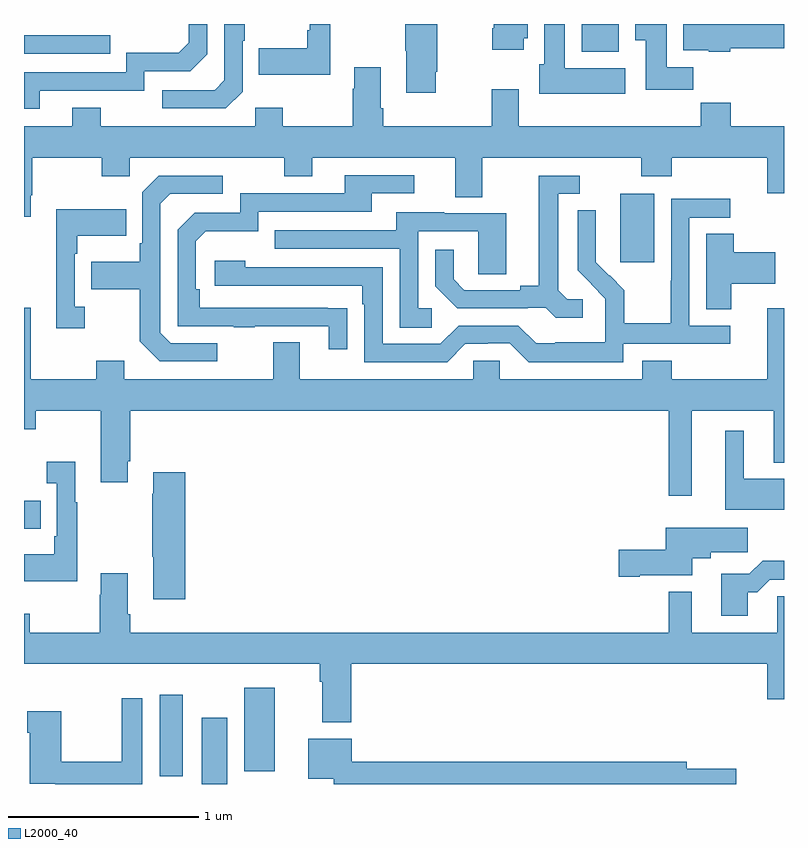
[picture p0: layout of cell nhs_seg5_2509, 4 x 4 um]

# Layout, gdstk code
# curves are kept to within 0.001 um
import gdstk
lib = gdstk.Library(unit=1e-6, precision=1e-09)
def R(c, l, rs):  # rectangles x0, y0, x1, y1
    for r in rs: c.add(gdstk.rectangle(r[:2], r[2:], *l))
def P(c, l, *ps):  # polygons
    for p in ps: c.add(gdstk.Polygon(p, *l))
L2000_40 = (2000, 40)

nhs_seg5_2509 = lib.new_cell('nhs_seg5_2509')
R(nhs_seg5_2509, L2000_40, [(257.936,850.799,258.07,851.149), (257.714,850.839,257.836,851.269), (258.158,850.866,258.319,851.305), (257,852.143,257.087,852.291), (260.138,853.545,260.317,853.906), (257,854.643,257.453,854.739), (259.935,854.654,260.131,854.799)])
P(nhs_seg5_2509, L2000_40, [(260.718,854.671),(261,854.671),(261,854.799),(260.471,854.799),(260.471,854.66),(260.604,854.66),(260.604,854.654),(260.718,854.654)],
  [(260.164,854.566),(259.846,854.566),(259.846,854.799),(259.739,854.799),(259.739,854.586),(259.712,854.586),(259.712,854.432),(260.164,854.432)],
  [(258.613,854.799),(258.504,854.799),(258.504,854.767),(258.492,854.767),(258.492,854.671),(258.235,854.671),(258.235,854.531),(258.613,854.531)],
  [(258.15,854.442),(258.15,854.711),(258.163,854.711),(258.163,854.799),(258.054,854.799),(258.054,854.502),(258.003,854.451),(257.727,854.451),(257.727,854.355),(258.063,854.355)],
  [(260.522,854.572),(260.383,854.572),(260.383,854.799),(260.216,854.799),(260.216,854.713),(260.273,854.713),(260.273,854.454),(260.522,854.454)],
  [(259.63,854.724),(259.651,854.724),(259.651,854.799),(259.472,854.799),(259.472,854.776),(259.465,854.776),(259.465,854.664),(259.63,854.664)],
  [(259.168,854.548),(259.176,854.548),(259.176,854.799),(259.006,854.799),(259.006,854.659),(259.013,854.659),(259.013,854.436),(259.168,854.436)],
  [(257.083,854.448),(257.634,854.448),(257.634,854.55),(257.874,854.55),(257.964,854.64),(257.964,854.799),(257.868,854.799),(257.868,854.7),(257.815,854.647),(257.538,854.647),(257.538,854.544),(257,854.544),(257,854.352),(257.083,854.352)],
  [(257.035,853.897),(257.043,853.897),(257.043,854.096),(257.41,854.096),(257.41,853.997),(257.556,853.997),(257.556,854.096),(258.37,854.096),(258.37,853.997),(258.517,853.997),(258.517,854.096),(259.271,854.096),(259.271,853.888),(259.411,853.888),(259.411,854.096),(260.248,854.096),(260.248,853.997),(260.408,853.997),(260.408,854.096),(260.912,854.096),(260.912,853.908),(261,853.908),(261,854.26),(260.72,854.26),(260.72,854.384),(260.563,854.384),(260.563,854.26),(259.603,854.26),(259.603,854.455),(259.463,854.455),(259.463,854.26),(258.89,854.26),(258.89,854.356),(258.877,854.356),(258.877,854.572),(258.737,854.572),(258.737,854.459),(258.73,854.459),(258.73,854.26),(258.363,854.26),(258.363,854.359),(258.216,854.359),(258.216,854.26),(257.403,854.26),(257.403,854.359),(257.255,854.359),(257.255,854.26),(257,854.26),(257,853.785),(257.035,853.785)],
  [(258.701,853.304),(257.924,853.305),(257.924,853.402),(257.904,853.402),(257.904,853.656),(257.957,853.709),(258.234,853.709),(258.234,853.812),(258.829,853.812),(258.829,853.908),(259.054,853.908),(259.054,854.004),(258.689,854.004),(258.689,853.908),(258.138,853.908),(258.138,853.806),(257.898,853.806),(257.808,853.716),(257.808,853.209),(258.103,853.209),(258.103,853.204),(258.215,853.204),(258.215,853.209),(258.605,853.209),(258.605,853.086),(258.701,853.086)],
  [(259.942,853.35),(259.86,853.35),(259.813,853.397),(259.813,853.905),(259.924,853.905),(259.924,854.001),(259.709,854.001),(259.709,853.421),(259.613,853.421),(259.613,853.398),(259.318,853.398),(259.261,853.455),(259.261,853.612),(259.164,853.612),(259.164,853.418),(259.28,853.302),(259.652,853.302),(259.652,853.305),(259.746,853.305),(259.798,853.253),(259.942,853.253)],
  [(258.016,853.119),(257.772,853.119),(257.718,853.173),(257.718,853.854),(257.769,853.905),(258.046,853.905),(258.046,854.001),(257.709,854.001),(257.622,853.914),(257.622,853.645),(257.61,853.645),(257.61,853.549),(257.353,853.549),(257.353,853.402),(257.61,853.402),(257.61,853.129),(257.715,853.023),(258.016,853.023)],
  [(260.154,853.116),(260.716,853.116),(260.716,853.212),(260.502,853.212),(260.502,853.779),(260.716,853.779),(260.716,853.878),(260.406,853.878),(260.406,853.448),(260.404,853.448),(260.404,853.225),(260.159,853.225),(260.159,853.399),(260.082,853.476),(260.079,853.473),(260.009,853.544),(260.01,853.82),(259.914,853.82),(259.914,853.502),(260.06,853.354),(260.06,853.257),(260.058,853.257),(260.058,853.123),(259.795,853.123),(259.795,853.119),(259.695,853.119),(259.602,853.212),(259.287,853.212),(259.191,853.116),(258.888,853.116),(258.888,853.518),(258.164,853.518),(258.164,853.552),(258.003,853.552),(258.003,853.422),(258.779,853.422),(258.779,853.325),(258.792,853.325),(258.792,853.02),(259.227,853.02),(259.323,853.116),(259.442,853.116),(259.442,853.119),(259.557,853.119),(259.657,853.019),(260.154,853.019)],
  [(257.32,853.31),(257.268,853.31),(257.268,853.589),(257.281,853.589),(257.281,853.685),(257.537,853.685),(257.537,853.825),(257.171,853.825),(257.171,853.197),(257.32,853.197)],
  [(259.147,853.302),(259.074,853.302),(259.074,853.707),(259.392,853.707),(259.392,853.483),(259.537,853.483),(259.537,853.803),(259.213,853.803),(259.213,853.807),(258.959,853.807),(258.959,853.713),(258.319,853.713),(258.319,853.617),(258.978,853.617),(258.978,853.201),(259.147,853.201)],
  [(260.722,853.433),(260.953,853.433),(260.953,853.599),(260.735,853.599),(260.735,853.694),(260.591,853.694),(260.591,853.297),(260.722,853.297)],
  [(260.515,852.764),(260.945,852.764),(260.945,852.491),(261,852.491),(261,853.303),(260.912,853.303),(260.912,852.928),(260.408,852.928),(260.408,853.027),(260.255,853.027),(260.255,852.928),(259.503,852.928),(259.503,853.026),(259.365,853.026),(259.365,852.928),(258.451,852.928),(258.451,853.123),(258.311,853.123),(258.311,852.928),(257.527,852.928),(257.527,853.027),(257.38,853.027),(257.38,852.928),(257.035,852.928),(257.035,853.306),(257,853.306),(257,852.665),(257.061,852.665),(257.061,852.764),(257.405,852.764),(257.405,852.387),(257.545,852.387),(257.545,852.499),(257.558,852.499),(257.558,852.764),(260.394,852.764),(260.394,852.315),(260.515,852.315)],
  [(261,852.406),(260.788,852.406),(260.788,852.658),(260.69,852.658),(260.69,852.242),(261,852.242)],
  [(257.281,852.283),(257.269,852.283),(257.269,852.496),(257.121,852.496),(257.121,852.383),(257.172,852.383),(257.172,852.103),(257.16,852.103),(257.16,852.007),(257,852.007),(257,851.867),(257.281,851.867)],
  [(257.849,852.439),(257.681,852.439),(257.681,852.326),(257.674,852.326),(257.674,851.995),(257.681,851.995),(257.681,851.772),(257.849,851.772)],
  [(260.242,851.897),(260.518,851.897),(260.518,851.987),(260.614,851.987),(260.614,852.019),(260.809,852.019),(260.809,852.148),(260.378,852.148),(260.378,852.032),(260.13,852.032),(260.13,851.89),(260.242,851.89)],
  [(260.809,851.807),(260.858,851.807),(260.925,851.874),(261,851.874),(261,851.975),(260.888,851.975),(260.818,851.905),(260.669,851.905),(260.669,851.685),(260.809,851.685)],
  [(258.722,851.432),(260.912,851.432),(260.912,851.244),(261,851.244),(261,851.786),(260.964,851.786),(260.964,851.596),(260.515,851.596),(260.515,851.812),(260.394,851.812),(260.394,851.596),(257.558,851.596),(257.558,851.692),(257.545,851.692),(257.545,851.908),(257.405,851.908),(257.405,851.795),(257.398,851.795),(257.398,851.596),(257.031,851.596),(257.031,851.695),(257,851.695),(257,851.432),(258.557,851.432),(258.557,851.336),(258.569,851.336),(258.569,851.123),(258.722,851.123)],
  [(257.622,851.251),(257.514,851.251),(257.514,850.916),(257.196,850.916),(257.196,851.182),(257.017,851.182),(257.017,851.069),(257.03,851.069),(257.03,850.8),(257.164,850.8),(257.164,850.799),(257.622,850.799)],
  [(260.749,850.88),(260.488,850.88),(260.488,850.916),(258.724,850.916),(258.724,851.038),(258.497,851.038),(258.497,850.826),(258.63,850.826),(258.63,850.799),(260.749,850.799)])

lib.write_gds('nhs_seg5_2509.gds')
